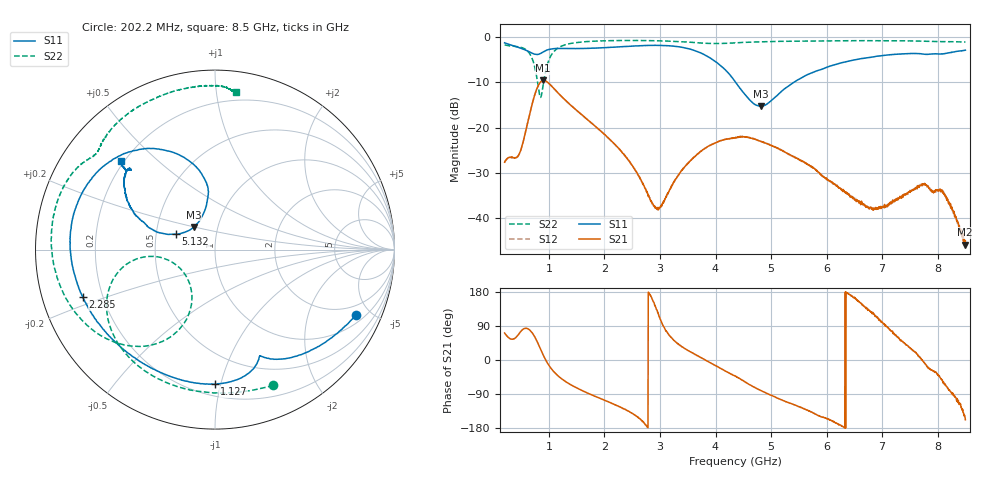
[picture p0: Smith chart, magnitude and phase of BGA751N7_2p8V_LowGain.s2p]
!BGA751L7 Device Level S-Parameters 18.11.2008
# MHZ S MA R 50
!  S11  S21  S12  S22
!  f  mag  angle  mag  angle  mag  angle  mag  angle
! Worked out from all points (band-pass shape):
!   1563 points, 202.2 MHz to 8.5 GHz, reference 50 ohm
!   highest |S21| = -9.56 dB at 898.1 MHz (marker M1); lowest = -45.8 dB at 8.495 GHz (marker M2)
!   |S21| within 3 dB of the highest: 749.6 MHz to 1.183 GHz (433 MHz wide, 44.8 % of centre)
!   lowest |S11| = -15.3 dB at 4.819 GHz (marker M3), VSWR 1.42, Z = 38.4 + j9.97 ohm
!   |S11| at or under -10 dB: 4.364 GHz to 5.404 GHz (1.041 GHz wide, 21.3 % of centre)
!   |S22| runs from -13.3 to -0.7 dB; largest |S21 - S12| = 0.0016
!   S11 on the Smith chart (normalised r, x): 202.2 MHz: 1.40, -4.09; 1.127 GHz: 0.28, -0.96; 2.285 GHz: 0.12, -0.17; 5.132 GHz: 0.63, +0.12; 8.5 GHz: 0.19, +0.38
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202.1679  0.8664 -24.8  0.04157 71.3  0.04138 70.9  0.8221 -66.7
446.5342  0.7728 -47.1  0.04913 66.4  0.0489 66.4  0.7831 -117.3
600.5913  0.7099 -59.2  0.1029 83.4  0.1029 83.2  0.7165 -145.8
770.5853  0.643 -67.0  0.2583 54.1  0.2582 54.0  0.3936 -174.1
839.6454  0.6569 -68.2  0.3142 32.0  0.3155 31.9  0.22 -151.3
898.0808  0.6881 -71.1  0.3326 12.9  0.3328 12.9  0.3 -115.4
1004.327  0.7326 -79.7  0.3062 -15.2  0.3068 -15.2  0.5692 -118.4
1126.51  0.7489 -90.2  0.2563 -36.8  0.2564 -36.7  0.7314 -133.3
1588.681  0.7506 -122.5  0.1395 -80.1  0.1395 -80.2  0.8845 -166.2
2284.594  0.7836 -160.2  0.05672 -124.1  0.0565 -124.2  0.9178 170.7
2969.883  0.8126 165.8  0.0124 121.7  0.01275 122.1  0.9113 156.3
3692.357  0.6872 125.1  0.05216 10.3  0.05223 9.9  0.8656 144.3
4351.084  0.3244 96.4  0.07683 -42.5  0.07742 -42.3  0.8675 137.1
4818.567  0.1724 133.0  0.07057 -80.5  0.07087 -80.8  0.8896 129.2
5131.994  0.2339 158.4  0.05867 -101.9  0.05868 -101.6  0.8986 123.3
5737.597  0.4043 160.4  0.03643 -138.0  0.0373 -138.1  0.907 111.1
6746.937  0.5937 147.4  0.01339 133.8  0.01302 134.6  0.9141 94.7
7118.799  0.6368 142.7  0.01396 83.9  0.01435 83.0  0.9137 90.7
7719.09  0.6533 136.4  0.02282 -0.7  0.02321 -0.9  0.9016 85.6
8069.703  0.6525 137.3  0.02018 -50.6  0.02056 -51.4  0.8934 84.1
8494.688  0.7162 136.7  0.005129 -152.7  0.005015 -156.7  0.8833 82.3
8500  0.718 136.8  0.005603 -157.6  0.004921 -153.0  0.8841 82.3
